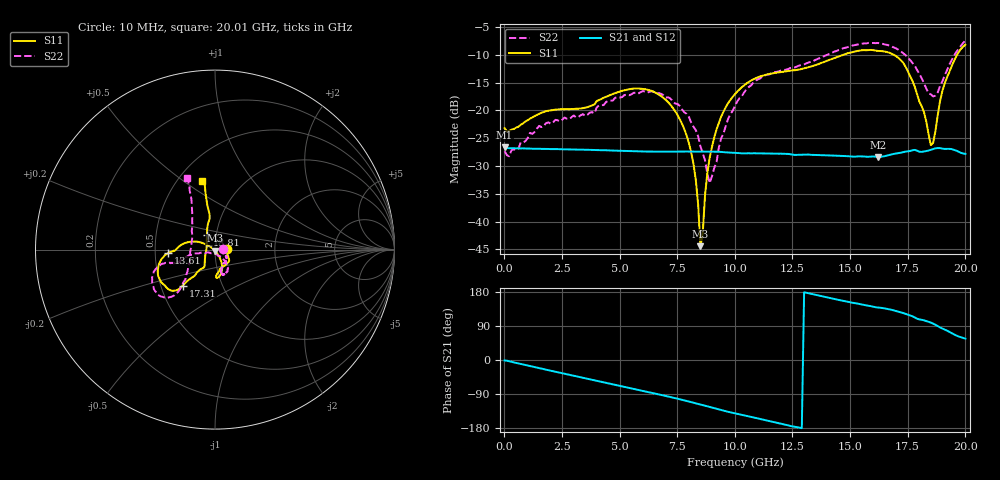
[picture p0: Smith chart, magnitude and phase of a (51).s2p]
! Hittite Microwave Corporation
! 2 Elizabeth Drive
! Chelmsford, MA 01824
! http://www.hittite.com
! Tel: 978-250-3343
! Fax: 978-250-3373
! Device:  HMC424LP3
! Description: 0.5 dB GaAs MMIC 6-Bit Digital Attenuator
! Frequency:  DC -  13.00 GHz
! Package:  LP3  - 3x3 mm Quad Flatpack No-Lead (QFN) Plastic Package: 16 pin
! Ports:  2 RF, 7 DC
!  Pad  1  = Ground
!  Pad  2  = RF IN  =  Port 1
!  Pad  3  = Ground
!  Pad  4  = V6
!  Pad  5  = V5
!  Pad  6  = V4
!  Pad  7  = V3
!  Pad  8  = V2
!  Pad  9  = V1
!  Pad 10  = Ground
!  Pad 11  = RF OUT  = Port 2
!  Pad 12  = Ground
!  Pad 15  = VEE
! Control:  -5 Volt control voltage
! State:  49
! Attenuation:  24.5 dB
! Voltages:  Vdd = -5.00 Volts  Idd =  -2.391 mA
!  V1  = -5.00 Volts  I1  =  -1.0 uA
!  V2  = 0.00 Volts  I2  =  29.0 uA
!  V3  = 0.00 Volts  I3  =  29.0 uA
!  V4  = 0.00 Volts  I4  =  30.0 uA
!  V5  = -5.00 Volts  I5  =  -1.0 uA
!  V6  = -5.00 Volts  I6  =  -1.0 uA
! Data:  The device was measured on evaluation board 105354-1.
!  Data was collected using a calibrated network analyzer.
!  The evaluation circuit board was modeled and simulated.  This was use
!  to removed the evaluation board circuit from the measured data.
!  The reference plane is the edge of the package pin.
! Misc:  Lot xxxx, Unit 1
!  Application 20120001, Data collected in Application 20090083
! Date Measured:  2009-09-15
! Date:  2012-05-14  MJV
! Note:
!  Hittite supplies this data as a sample of measured data at the package pin
!  for this product.  Your particular data for this product may vary.
!  Data was taken at 25 degrees C.
!  Hittite reserves the right to change this data at anytime.
# GHz S MA R 50
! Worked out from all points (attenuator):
!   201 points, 10 MHz to 20.01 GHz, reference 50 ohm
!   highest |S21| = -26.65 dB at 10 MHz (marker M1); lowest = -28.4 dB at 16.21 GHz (marker M2)
!   lowest |S11| = -44.4 dB at 8.51 GHz (marker M3), VSWR 1.01, Z = 49.9 - j0.587 ohm
!   |S11| at or under -10 dB: start of sweep to 14.69 GHz; 16.92 GHz to 19.65 GHz (2.734 GHz wide, 15 % of centre)
!   |S22| runs from -33.1 to -7.4 dB; largest |S21 - S12| = 0.00037
!   S11 on the Smith chart (normalised r, x): 10 MHz: 1.15, +0.01; 13.61 GHz: 0.59, -0.02; 17.31 GHz: 0.65, -0.28; 18.81 GHz: 0.90, +0.14; 20.01 GHz: 0.65, +0.59
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0.01  0.06925 2.9  0.04652 -1.3  0.04684 -1.0  0.04294 7.9
3.41  0.105 -64.9  0.04441 -47.1  0.0443 -47.2  0.09268 -54.2
5.51  0.1565 -87.2  0.04312 -75.2  0.04305 -75.2  0.1396 -74.7
6.71  0.1385 -76.4  0.04258 -90.9  0.04252 -90.9  0.1431 -63.4
8.01  0.05082 -59.2  0.04264 -109.7  0.04258 -109.7  0.08734 -48.2
8.31  0.02359 -61.0  0.0426 -114.2  0.04253 -114.2  0.06651 -50.8
8.51  0.006008 -101.7  0.04268 -117.4  0.04262 -117.4  0.04745 -52.3
8.61  0.007871 174.9  0.04264 -119.0  0.0426 -119.0  0.04106 -59.7
8.81  0.02734 150.2  0.04259 -122.2  0.04258 -122.2  0.02696 -72.2
9.01  0.04686 150.3  0.04258 -125.5  0.04251 -125.5  0.02555 -122.2
10.01  0.1403 161.6  0.04161 -141.0  0.04151 -141.0  0.1099 -169.0
11.21  0.2056 176.4  0.04106 -157.0  0.04091 -157.0  0.2024 -162.7
13.41  0.2523 -176.7  0.03978 173.3  0.03975 173.2  0.2783 -164.7
13.61  0.2604 -176.0  0.03971 170.6  0.03971 170.6  0.2918 -164.9
16.21  0.3433 -144.1  0.0381 138.4  0.03809 138.4  0.4052 -141.7
16.71  0.3312 -136.1  0.03967 133.8  0.03953 133.9  0.384 -135.6
17.31  0.2684 -131.8  0.04214 123.9  0.04213 123.9  0.3275 -131.4
18.21  0.09701 -126.4  0.04275 104.7  0.04271 104.7  0.1763 -147.3
18.51  0.04877 -176.3  0.04427 98.7  0.04415 98.8  0.1395 -173.4
18.81  0.09084 119.3  0.04585 89.4  0.04574 89.3  0.1458 149.5
19.21  0.198 98.7  0.04511 77.6  0.0451 77.6  0.2296 123.3
20.01  0.3909 100.4  0.04072 56.5  0.04072 56.1  0.4267 111.5
